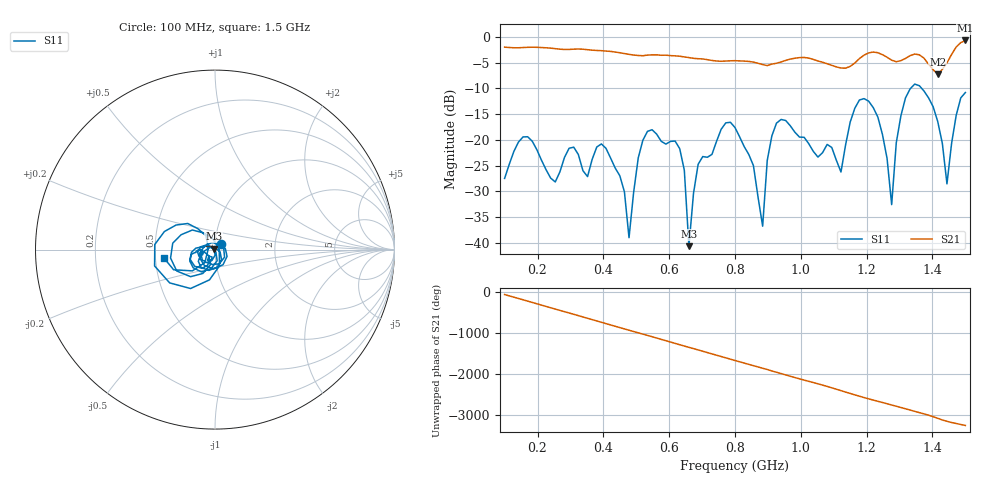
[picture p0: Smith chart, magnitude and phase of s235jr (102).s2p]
! NanoVNA-App
! Date: 2025-09-25 15:04:57
! Start: 100MHz Stop: 1,5GHz Points: 101
! S-Parameter data: F S11 S21 S12 S22
# Hz S RI R 50
!  Frequency  S11_Real  S11_Imag  S21_Real  S21_Imag  S12_Real  S12_Imag  S22_Real  S22_Imag
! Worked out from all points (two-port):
!   101 points, 100 MHz to 1.5 GHz, reference 50 ohm
!   highest |S21| = -0.66 dB at 1.5 GHz (marker M1); lowest = -7.2 dB at 1.416 GHz (marker M2)
!   |S21| within 3 dB of the highest: start of sweep to 618.4 MHz; 1.189 GHz to 1.255 GHz (65.63 MHz wide, 5.37 % of centre) (the widest 2 of 4)
!   lowest |S11| = -40.7 dB at 660 MHz (marker M3), VSWR 1.02, Z = 49.3 + j0.576 ohm
!   |S11| at or under -10 dB: start of sweep to 1.333 GHz; 1.367 GHz to end of sweep
!   S12 and S22 are empty: the file has one direction only
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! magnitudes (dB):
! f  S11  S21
! 100 MHz  -27.5  -2.0
! 156 MHz  -19.4  -2.0
! 338 MHz  -26.0  -2.4
! 408 MHz  -21.6  -2.7
! 478 MHz  -39.0  -3.4
! 520 MHz  -20.1  -3.6
! 576 MHz  -20.3  -3.5
! 632 MHz  -21.7  -3.7
! 660 MHz  -40.7  -4.0
! 688 MHz  -24.7  -4.2
! 800 MHz  -17.6  -4.6
! 884 MHz  -36.8  -5.4
! 926 MHz  -16.7  -5.1
! 1.038 GHz  -22.2  -4.4
! 1.122 GHz  -26.2  -6.0
! 1.206 GHz  -12.5  -3.1
! 1.276 GHz  -32.6  -4.5
! 1.29 GHz  -20.6  -4.8
! 1.332 GHz  -10.1  -3.6
! 1.416 GHz  -16.4  -7.2
! 1.444 GHz  -28.5  -5.0
! 1.5 GHz  -10.8  -0.7
